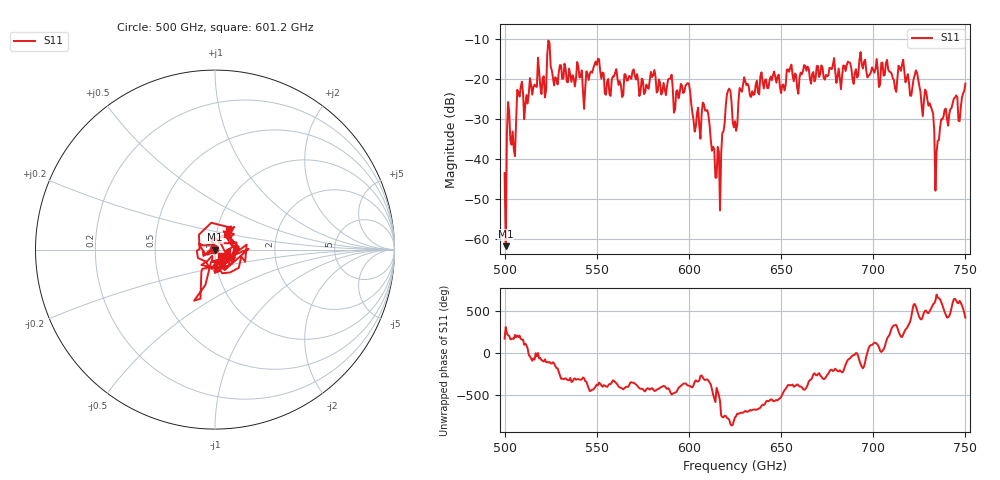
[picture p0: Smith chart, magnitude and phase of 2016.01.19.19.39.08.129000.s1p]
!Created with skrf (http://scikit-rf.org).
# GHz S RI R 50.0
!freq ReS11 ImS11
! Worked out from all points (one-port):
!   401 points, 500 GHz to 750 GHz, reference 50 ohm
!   lowest |S11| = -61.9 dB at 500.6 GHz (marker M1), VSWR 1.00, Z = 50.1 - j0.062 ohm
!   |S11| at or under -10 dB: start of sweep to end of sweep
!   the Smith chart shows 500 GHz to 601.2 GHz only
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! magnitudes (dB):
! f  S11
! 500 GHz  -43.6
! 500.6 GHz  -61.9
! 502.5 GHz  -28.2
! 505 GHz  -37.7
! 508.1 GHz  -24.3
! 521.2 GHz  -19.2
! 524.4 GHz  -10.9
! 527.5 GHz  -19.5
! 531.2 GHz  -19.8
! 543.8 GHz  -22.1
! 550 GHz  -16.4
! 562.5 GHz  -20.4
! 580.6 GHz  -19.0
! 593.8 GHz  -22.7
! 599.4 GHz  -21.0
! 605 GHz  -27.1
! 608.8 GHz  -27.8
! 615.6 GHz  -37.0
! 621.2 GHz  -22.8
! 625 GHz  -30.5
! 630.6 GHz  -20.6
! 656.2 GHz  -19.0
! 687.5 GHz  -15.9
! 718.8 GHz  -18.7
! 729.4 GHz  -25.2
! 734.4 GHz  -38.2
! 738.1 GHz  -29.3
! 750 GHz  -21.1
